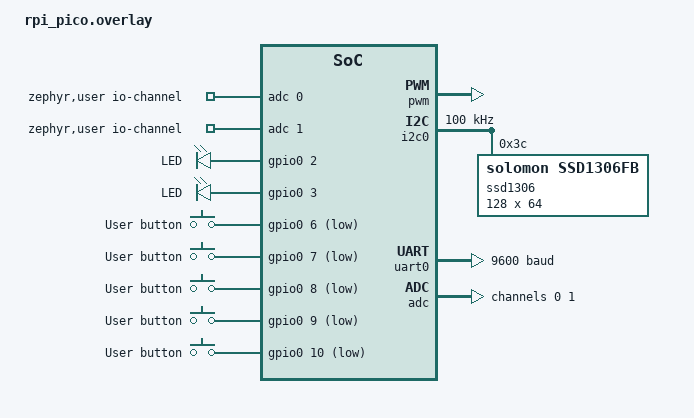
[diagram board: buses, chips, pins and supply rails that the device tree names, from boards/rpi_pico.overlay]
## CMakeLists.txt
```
cmake_minimum_required(VERSION 3.20.0)
set(BOARD rpi_pico)

find_package(Zephyr)
project(my_zephyr_app)

target_sources(app PRIVATE src/main.c)
```

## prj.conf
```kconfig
# GPIO
CONFIG_GPIO=y

# PWM
CONFIG_STDOUT_CONSOLE=y
CONFIG_PRINTK=y
CONFIG_PWM=y
CONFIG_LOG=y
CONFIG_LOG_PRINTK=y
CONFIG_LOG_MODE_IMMEDIATE=y
CONFIG_PWM_LOG_LEVEL_DBG=y

# ADC
CONFIG_ADC=y
CONFIG_ADC_ASYNC=y
CONFIG_NEWLIB_LIBC=y

# UART
CONFIG_SERIAL=y
CONFIG_UART_INTERRUPT_DRIVEN=y

# Memoria
#CONFIG_STORAGE=y

#I2C display
CONFIG_I2C=y
CONFIG_DISPLAY=y
CONFIG_SSD1306=y
CONFIG_SSD1306_DEFAULT=y
CONFIG_SSD1306_DEFAULT_CONTRAST=128
CONFIG_LOG=y
CONFIG_CHARACTER_FRAMEBUFFER=y
CONFIG_STDOUT_CONSOLE=y
CONFIG_HEAP_MEM_POOL_SIZE=16384
CONFIG_CFB_LOG_LEVEL_DBG=y
```

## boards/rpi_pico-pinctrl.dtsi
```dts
/*
 * Copyright (c) 2021, Yonatan Schachter
 * SPDX-License-Identifier: Apache-2.0
 */

#include <zephyr/dt-bindings/pinctrl/rpi-pico-rp2040-pinctrl.h>

&pinctrl {

// new pinctrl:

	pwm_chn_used: pwm_ch4b_default {
		group1 {
			pinmux = <PWM_7A_P14>, <PWM_7B_P15>, <PWM_3A_P22>;
		};
	};



// old pinctrl:

	uart0_default: uart0_default {
		rx_pins {
			pinmux = <PIO1_P1>;
			input-enable;
			bias-pull-up;
		};
		tx_pins {
			pinmux = <PIO1_P0>;
		};
	};

	i2c0_default: i2c0_default {
		group1 {
			pinmux = <I2C0_SDA_P4>, <I2C0_SCL_P5>;
			input-enable;
			input-schmitt-enable;
		};
	};

	spi0_default: spi0_default {
		group1 {
			pinmux = <SPI0_CSN_P17>, <SPI0_SCK_P18>, <SPI0_TX_P19>;
		};
		group2 {
			pinmux = <SPI0_RX_P16>;
			input-enable;
		};
	};

	pwm_ch4b_default: pwm_ch4b_default {
		group1 {
			pinmux = <PWM_4B_P25>;
		};
	};

	adc_default: adc_default {
		group1 {
			pinmux = <ADC_CH0_P26>, <ADC_CH1_P27>, <ADC_CH2_P28>, <ADC_CH3_P29>;
			input-enable;
		};
	};
};
```

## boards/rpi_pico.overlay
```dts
#include "rpi_pico-pinctrl.dtsi"
#include <zephyr/dt-bindings/adc/adc.h>


/ {
	zephyr,user {
		io-channels = <&adc 0>, <&adc 1>;
	};

	pwm_leds {
		compatible = "pwm-leds";
		status = "disabled";
		pwm_led1: pwm_led_1 {
			pwms = <&pwm 14 PWM_MSEC(20) PWM_POLARITY_NORMAL>;
			label = "PWM_LED";
		};
		pwm_led2: pwm_led_2 {
			pwms = <&pwm 15 PWM_MSEC(20) PWM_POLARITY_NORMAL>;
			label = "PWM_LED";
		};
		pwm_led3: pwm_led_3 {
			pwms = <&pwm 6 PWM_MSEC(20) PWM_POLARITY_NORMAL>;
			label = "PWM_LED";
		};
	};

	leds {
		compatible = "gpio-leds";
		led1: led_1 {
			gpios = <&gpio0 2 GPIO_ACTIVE_HIGH>;
			label = "LED";
		};
		led2: led_2 {
			gpios = <&gpio0 3 GPIO_ACTIVE_HIGH>;
			label = "LED";
		};
	};

	buttons {
             compatible = "gpio-keys";
             button0: button_0 {
                     gpios = < &gpio0 6 (GPIO_PULL_UP | GPIO_ACTIVE_LOW)>;
                     label = "User button";
             };
			  button1: button_1 {
                     gpios = < &gpio0 7 (GPIO_PULL_UP | GPIO_ACTIVE_LOW)>;
                     label = "User button";
             };
			  button2: button_2 {
                     gpios = < &gpio0 8 (GPIO_PULL_UP | GPIO_ACTIVE_LOW)>;
                     label = "User button";
             };
			  button3: button_3 {
                     gpios = < &gpio0 9 (GPIO_PULL_UP | GPIO_ACTIVE_LOW)>;
                     label = "User button";
             };
			  button4: button_4 {
                     gpios = < &gpio0 10 (GPIO_PULL_UP | GPIO_ACTIVE_LOW)>;
                     label = "User button";
             };
             
     };

	aliases {
		led1 = &led1;
		led2 = &led2;
		pwm-led1 = &pwm_led1;
		pwm-led2 = &pwm_led2;
		pwm-led3 = &pwm_led3;
		sw0 = &button0;
		sw1 = &button1;
		sw2 = &button2;
		sw3 = &button3;
		sw4 = &button4;
	};

};


&pwm_led1 {
	status = "okay";
};
&pwm_led2 {
	status = "okay";
};
&pwm_led3 {
	status = "okay";
};


&pwm {
	status = "okay";

	pinctrl-0 = <&pwm_ch4b_default>;

	// for pwm chanel 3 A and B

	divider-frac-3 = <15>;
	divider-int-3 = <255>;
	
	// for pwm chanel 4 A and B
	
	// divider-frac-4 = <15>;
	// divider-int-4 = <255>;

	// for pwm chanel 7 A and B
	
	divider-frac-7 = <15>;
	divider-int-7 = <255>;
};

&i2c0 {
	clock-frequency = <I2C_BITRATE_STANDARD>;
	status = "okay";
	pinctrl-0 = <&i2c0_default>;
	pinctrl-names = "default";

	ssd1306: ssd1306@3c {
      		compatible = "solomon,ssd1306fb";
	       reg = <0x3c>;
	       height = <64>;
	       width = <128>;
	       segment-offset = <0>;
	       page-offset = <0>;
	       display-offset = <0>;
	       multiplex-ratio = <63>;
	       prechargep = <0x22>;
	       com-invdir;
	       segment-remap;
      };
};


pio1_uart0: &uart0 {
	compatible = "raspberrypi,pico-uart-pio";
	current-speed = <9600>;
	status = "okay";
	pinctrl-0 = <&uart0_default>;
	pinctrl-names = "default";
};

&adc {
	#address-cells = <1>;
	#size-cells = <0>;

	channel@0 {
		reg = <0>;
		zephyr,gain = "ADC_GAIN_1";
		zephyr,reference = "ADC_REF_INTERNAL";
		zephyr,acquisition-time = <ADC_ACQ_TIME_DEFAULT>;
		zephyr,resolution = <12>;
	};
	
	channel@1 {
		reg = <1>;
		zephyr,gain = "ADC_GAIN_1";
		zephyr,reference = "ADC_REF_INTERNAL";
		zephyr,acquisition-time = <ADC_ACQ_TIME_DEFAULT>;
		zephyr,resolution = <12>;
	};

};
```

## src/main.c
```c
/*
 * Copyright (c) 2016 Intel Corporation
 *
 * SPDX-License-Identifier: Apache-2.0
 */



#include <inttypes.h>
#include <stddef.h>
#include <stdint.h>

#include <zephyr/device.h>
#include <zephyr/devicetree.h>
#include <zephyr/drivers/adc.h>
#include <zephyr/kernel.h>
#include <zephyr/sys/printk.h>
#include <zephyr/sys/util.h>

#include <zephyr/drivers/pwm.h>

#include <zephyr/drivers/gpio.h>

#include <zephyr/drivers/uart.h>
#include <string.h>

#include <zephyr/drivers/display.h>
#include <zephyr/display/cfb.h>
#include <zephyr/logging/log.h>



// ############# GPIO ###############

#define LED0_NODE DT_ALIAS(led0)
#define GFCI_test_NODE DT_ALIAS(led1)
#define GFCI_fault_NODE DT_ALIAS(led2)

// ############# PWM ###############

#define PERIOD PWM_NSEC(100000000U)

// ############# I2C DISPLAY ###############
#include "Chargers.h"
#include "Logo_b.h"
#define DISPLAY_BUFFER_PITCH 128
LOG_MODULE_REGISTER(display);


// ############# GPIO ###############

static const struct gpio_dt_spec led_placa = GPIO_DT_SPEC_GET(LED0_NODE, gpios);
static const struct gpio_dt_spec GFCI_test = GPIO_DT_SPEC_GET(GFCI_test_NODE, gpios);
static const struct gpio_dt_spec GFCI_fault = GPIO_DT_SPEC_GET(GFCI_fault_NODE, gpios);

// ############# BUTTONS ###############

#define SW3_NODE	DT_ALIAS(sw3)
#define SW0_NODE	DT_ALIAS(sw0)
#define SW1_NODE	DT_ALIAS(sw1)
#define SW2_NODE	DT_ALIAS(sw2)

#if !DT_NODE_HAS_STATUS(SW0_NODE, okay)
#error "Unsupported board: sw devicetree alias is not defined"
#endif
#if !DT_NODE_HAS_STATUS(SW1_NODE, okay)
#error "Unsupported board: sw devicetree alias is not defined"
#endif
#if !DT_NODE_HAS_STATUS(SW2_NODE, okay)
#error "Unsupported board: sw devicetree alias is not defined"
#endif
#if !DT_NODE_HAS_STATUS(SW3_NODE, okay)
#error "Unsupported board: sw devicetree alias is not defined"
#endif

static const struct gpio_dt_spec button0 = GPIO_DT_SPEC_GET_OR(SW0_NODE, gpios,
							      {0});
static const struct gpio_dt_spec button1 = GPIO_DT_SPEC_GET_OR(SW1_NODE, gpios,
							      {0});
static const struct gpio_dt_spec button2 = GPIO_DT_SPEC_GET_OR(SW2_NODE, gpios,
							      {0});
static const struct gpio_dt_spec button3 = GPIO_DT_SPEC_GET_OR(SW3_NODE, gpios,
							      {0});

static struct gpio_callback button0_cb_data;
static struct gpio_callback button1_cb_data;
static struct gpio_callback button2_cb_data;
static struct gpio_callback button3_cb_data;

void button0_pressed(const struct device *dev, struct gpio_callback *cb,
		    uint32_t pins)
{
	printk("Button0 pressed at %" PRIu32 "\n", k_cycle_get_32());
}
void button1_pressed(const struct device *dev, struct gpio_callback *cb,
		    uint32_t pins)
{
	printk("Button1 pressed at %" PRIu32 "\n", k_cycle_get_32());
}
void button2_pressed(const struct device *dev, struct gpio_callback *cb,
		    uint32_t pins)
{
	printk("Button2 pressed at %" PRIu32 "\n", k_cycle_get_32());
}
void button3_pressed(const struct device *dev, struct gpio_callback *cb,
		    uint32_t pins)
{
	printk("Button3 pressed at %" PRIu32 "\n", k_cycle_get_32());
}

// ############# PWM ###############

static const struct pwm_dt_spec pwm_rele1 = PWM_DT_SPEC_GET(DT_ALIAS(pwm_led1));
static const struct pwm_dt_spec pwm_rele2 = PWM_DT_SPEC_GET(DT_ALIAS(pwm_led2));
static const struct pwm_dt_spec pwm_pilot_out = PWM_DT_SPEC_GET(DT_ALIAS(pwm_led3));

// ############# I2C DISPLAY ###############
static const struct device *display = DEVICE_DT_GET(DT_NODELABEL(ssd1306));

void main(void)
{
	int ret;

	// ############# GPIO ###############

	// inicializar led placa
	if (!gpio_is_ready_dt(&led_placa)) {
		return;
	}

	ret = gpio_pin_configure_dt(&led_placa, GPIO_OUTPUT_ACTIVE);
	if (ret < 0) {
		return;
	}

	// inicializar GFCI_test
	if (!gpio_is_ready_dt(&GFCI_test)) {
		return;
	}

	ret = gpio_pin_configure_dt(&GFCI_test, GPIO_INPUT);
	if (ret < 0) {
		return;
	}

	// inicializar GFCI_fault
	if (!gpio_is_ready_dt(&GFCI_fault)) {
		return;
	}

	ret = gpio_pin_configure_dt(&GFCI_fault, GPIO_INPUT);
	if (ret < 0) {
		return;
	}

	printk("GPIOs configurados correctamente\n");



	// ############# PWM ###############
	uint32_t period;
	period = PERIOD;

	if (!device_is_ready(pwm_rele1.dev)) {
		printk("Error: PWM device %s is not ready\n",
		       pwm_rele1.dev->name);
		return;
	}

	if (!device_is_ready(pwm_rele2.dev)) {
		printk("Error: PWM device %s is not ready\n",
		       pwm_rele2.dev->name);
		return;
	}

	if (!device_is_ready(pwm_pilot_out.dev)) {
		printk("Error: PWM device %s is not ready\n",
		       pwm_pilot_out.dev->name);
		return;
	}

	printk("PWMs configurados correctamente\n");

	// // ############# I2C DISPLAY ###############
	if (display == NULL) {
    LOG_ERR("device pointer is NULL");
    return;
	}

	if (!device_is_ready(display)) {
		LOG_ERR("display device is not ready");
		return;
	}

	struct display_capabilities capabilities;
	display_get_capabilities(display, &capabilities);

	const uint16_t x_res = capabilities.x_resolution;
	const uint16_t y_res = capabilities.y_resolution;

	LOG_INF("x_resolution: %d", x_res);
	LOG_INF("y_resolution: %d", y_res);
	LOG_INF("supported pixel formats: %d", capabilities.supported_pixel_formats);
	LOG_INF("screen_info: %d", capabilities.screen_info);
	LOG_INF("current_pixel_format: %d", capabilities.current_pixel_format);
	LOG_INF("current_orientation: %d", capabilities.current_orientation);
		
	const struct display_buffer_descriptor buf_desc = {
		.width = x_res,
		.height = y_res,
		.buf_size = x_res * y_res,
		.pitch = DISPLAY_BUFFER_PITCH
	};

	// ############# BUTTON ###############

	// Button 0
	if (!gpio_is_ready_dt(&button0)) {
		printk("Error: button3 device %s is not ready\n",
		       button0.port->name);
		return;
	}
	if (ret != 0) {
		printk("Error %d: failed to configure %s pin %d\n",
		       ret, button0.port->name, button0.pin);
		return;
	}
	gpio_init_callback(&button0_cb_data, button0_pressed, BIT(button0.pin));
	gpio_add_callback(button0.port, &button0_cb_data);
	printk("Set up button0 at %s pin %d\n", button0.port->name, button0.pin);
	// Button 1
	if (!gpio_is_ready_dt(&button1)) {
		printk("Error: button1 device %s is not ready\n",
		       button1.port->name);
		return;
	}
	if (ret != 0) {
		printk("Error %d: failed to configure %s pin %d\n",
		       ret, button1.port->name, button1.pin);
		return;
	}
	gpio_init_callback(&button1_cb_data, button1_pressed, BIT(button1.pin));
	gpio_add_callback(button1.port, &button1_cb_data);
	printk("Set up button1 at %s pin %d\n", button1.port->name, button1.pin);
	// Button 2
	if (!gpio_is_ready_dt(&button2)) {
		printk("Error: button2 device %s is not ready\n",
		       button2.port->name);
		return;
	}
	if (ret != 0) {
		printk("Error %d: failed to configure %s pin %d\n",
		       ret, button2.port->name, button2.pin);
		return;
	}
	gpio_init_callback(&button2_cb_data, button2_pressed, BIT(button2.pin));
	gpio_add_callback(button2.port, &button2_cb_data);
	printk("Set up button2 at %s pin %d\n", button2.port->name, button2.pin);
	// Button 3
	if (!gpio_is_ready_dt(&button3)) {
		printk("Error: button3 device %s is not ready\n",
		       button3.port->name);
		return;
	}
	if (ret != 0) {
		printk("Error %d: failed to configure %s pin %d\n",
		       ret, button3.port->name, button3.pin);
		return;
	}
	gpio_init_callback(&button3_cb_data, button3_pressed, BIT(button3.pin));
	gpio_add_callback(button3.port, &button3_cb_data);
	printk("Set up button3 at %s pin %d\n", button3.port->name, button3.pin);
	

	// ############# INICIO DEL PROGRAMA ###############
	printk("Press the button\n"); 
	//RELÉS OFF
	int izquierda_bt;
	int derecha_bt;
	int aceptar_bt;
	int atras_bt;
	//ret = pwm_set_dt(&pwm_rele1, period, period / 2U);
	ret = pwm_set_dt(&pwm_rele1, period, 0);
		if (ret) {
			printk("Error %d: failed to set pulse width\n", ret);
			return;
		}

	//ret = pwm_set_dt(&pwm_rele2, period, period / 2U);
	ret = pwm_set_dt(&pwm_rele2, period, 0);
		if (ret) {
			printk("Error %d: failed to set pulse width\n", ret);
			return;
		}

	// ret = pwm_set_dt(&pwm_pilot_out, period, period / 2U);
	// 	if (ret) {
	// 		printk("Error %d: failed to set pulse width\n", ret);
	// 		return;
	// 	}
	
	int fase_programa = 0;
	const uint8_t *current_image = buff;

	while (1)
	{	
		
		display_write(display, 0, 0, &buf_desc, current_image);

		// Definimos las diferentes secciones que hay dentro del programa
		// Inicio, Selecciona corriente, ya esta cargando el carro?, carga, finalización
		
		izquierda_bt = gpio_pin_get_dt(&button0);
		derecha_bt = gpio_pin_get_dt(&button1);
		aceptar_bt = gpio_pin_get_dt(&button2);
		atras_bt = gpio_pin_get_dt(&button3);
		
		// Máquina de estados
		switch(fase_programa) {
			//case inicio:
			case 0:
				printk("inicio");
				current_image = buff;
				//:-) imprimir pantalla de inicio
				k_msleep(10000);
				fase_programa = 1;
			break;

			//case selecciona_corriente_6A:
			case 1:
				current_image = Char6;
				//:-) imprimir pantalla de selección corriente con 6A seleccionado

				if (aceptar_bt != 0) {
					// :-P asignar el valor a la variable corriente
					printk("Corriente 6A seleccionada\n");
					fase_programa = 3;

					k_msleep(10);
				}
				if (derecha_bt != 0){
					fase_programa = 2;

					k_msleep(10);
				}
			break;

			//case selecciona_corriente_16A:
			case 2:

				//:-) imprimir pantalla de selección corriente con 16A seleccionado
				current_image = Char16;
				if (aceptar_bt != 0) {
					printk("Corriente 16A seleccionada\n");
					// :-P asignar el valor a la variable corriente
					fase_programa = 3;

					k_msleep(10);
				}
				if (izquierda_bt != 0){
					fase_programa = 1;

					k_msleep(10);
				}
			break;

			// case comprobar si el carro esta conectado
			case 3:
				//:-) imprimir pantalla de mostrar que el carro esté conectado
				current_image = Char0;
				// :-P condicional para ver si el carro esta conectado y proceder a la carga
				if (aceptar_bt != 0) {
					printk("Carga aceptada\n");
					// :-P asignar el valor a la variable corriente
					fase_programa = 4;

					k_msleep(10);
				}
				if (atras_bt != 0){
					fase_programa = 1;

					k_msleep(10);
				}
			break;

			//case cargando
			case 4:
				//:-) imprimir pantalla de cargando
				current_image = Char50;

				// Encender relés

					ret = pwm_set_dt(&pwm_rele1, period, period);
						if (ret) {
							printk("Error %d: failed to set pulse width\n", ret);
							return;
						}

					ret = pwm_set_dt(&pwm_rele2, period, period);
						if (ret) {
							printk("Error %d: failed to set pulse width\n", ret);
							return;
						}

				// :-P condicional para ver si el carro ya está full carga
				if (atras_bt != 0){
					fase_programa = 5;
					k_msleep(10);
				}
			break;

			// case carga completada
			case 5:
				//:-) imprimir pantalla de carga completada
				current_image = Char100;

				//Apagar relés
				
					ret = pwm_set_dt(&pwm_rele1, period, 0);
						if (ret) {
							printk("Error %d: failed to set pulse width\n", ret);
							return;
						}

					ret = pwm_set_dt(&pwm_rele2, period, 0);
						if (ret) {
							printk("Error %d: failed to set pulse width\n", ret);
							return;
						}


			break;

			default:
				printk("error no esta en ninguna fase del programa");
				//:-) mostrar pantalla de error que diga que conecte y desconecte el cargador a la toma
		}

	}
	

// 	//REVISIÓN DE FALLAS: (SENSORES)
// 		//LECTURA DE CORRIENTE DE ENTRADA (SENSORES)
// 		//LECTURA DE VOLTAJE DE ENTRADA (SENSORES)
// 		//LECTURA DE TEMPERATURA (SENSORES)
// 		//LECTURA GFCI (SENSORES)
// 	//EN CASO DE FALLA: (PANTALLA)
// 		//MOSTRAR PANTALLA DE FALLA POR 5 SEGUNDOS
// 		//TERMINAR PROGRAMA 
// 	//MOSTRAR PANTALLA DE INICIO POR 2 SEGUNDOS (PANTALLA)
// 	//REVISAR SI SE APAGÓ CORRECTAMENTE (MICRO)
// 	//SI SE APAGÓ CORRECTAMENTE:
// 		//SE MUESTRA PANTALLA DE SELECCIÓN DE CORRIENTE 8A (PANTALLA)
// 		int aceptar = gpio_pin_get_dt(&button0);
// 		int izquierda = gpio_pin_get_dt(&button1);
// 		int derecha = gpio_pin_get_dt(&button2);
// 		int seleccionando_corriente = 1;
// 		int corriente_A = 16;
// 		int counter=0;
// 		while(seleccionando_corriente){
// 			if(izquierda){
// 				//SE MUESTRA PANTALLA DE SELECCIÓN DE CORRIENTE 8A (PANTALLA)
// 				corriente_A = 8;
// 			}
// 			if(derecha){
// 				//SE MUESTRA PANTALLA DE SELECCIÓN DE CORRIENTE 16A (PANTALLA)
// 				corriente_A = 16;
// 			}
// 			if(aceptar){
// 				seleccionando_corriente = 0;
// 			}
// 			if(counter > 200){
// 				seleccionando_corriente = 0;
// 			}
// 			counter = counter + 1;

// 			k_sleep(K_MSEC(700U));
// 		}
		
// 		//SE MUESTRA PANTALLA DE SOLICITUD DE CONEXIÓN DEL CARRO (PANTALLA)
// 		//vERIFICACIÓN DE CONEXIÓN CON EL CARRO %%%%%(CONECTOR)%%%%%%%%%
// 		//SI NO ESTÁ CONECTADO, SE REINICIA EL PROGRAMA CON EL REGISTRO DE APAGADO CORRECTAMENTE EN 1
// 	//%%%%%%%% INICIA CARGA %%%%%%%%%
// //RELÉS ENCENDIDOS (PROTOCOLO CONECTOR)
// 	ret = pwm_set_dt(&pwm_rele1, period, period);
// 		if (ret) {
// 			printk("Error %d: failed to set pulse width\n", ret);
// 			return;
// 		}

// 	ret = pwm_set_dt(&pwm_rele2, period, period);
// 		if (ret) {
// 			printk("Error %d: failed to set pulse width\n", ret);
// 			return;
// 		}

//  bool Carga_Completa = false;
// // INICIO DE WHILE

// 	while (1) {
	
// 	//LECTURA DE CORRIENTE DE ENTRADA (SENSORES)
// 	//LECTURA DE VOLTAJE DE ENTRADA (SENSORES)
// 	//LECTURA DE TEMPERATURA (SENSORES)
// 	//LECTURA DE CONEXIÓN CON EL CARRO (CONECTOR)
// 	//LECTURA GFCI (SENSORES)
// 	//ESTADO DE CARGA (CONECTOR)
// 		//SI NO ESTÁ LLENA:
// 			//MOSTRAR PANTALLA CARGANDO (PANTALLA)
// 		//SI ESTÁ LLENA:

// 			if (Carga_Completa == true)
// 			{
// 			//MOSTRAR PANTALLA CARGADO (PANTALLA)
// 			//APAGA RELÉS (MICRO)
// 				ret = pwm_set_dt(&pwm_rele1, period, 0);
// 				if (ret) {
// 				printk("Error %d: failed to set pulse width\n", ret);
// 				return;
// 				}

// 			ret = pwm_set_dt(&pwm_rele2, period, 0);
// 			if (ret) {
// 			printk("Error %d: failed to set pulse width\n", ret);
// 			return;
// 			}
// 			//FINALIZA PROGRAMA
// 			return 0;
// 			}
			

// 	//SI SE CANCELA CARGA: 
		

// 	//FALLO (CORRIENTE, TENSIÓN, TEMPERATURA, GFCI,) (SENSORES)
// 		//ABRE RELÉS
// 		//MUESTRA PANTALLA DE ERROR POR 5 SEGUNDOS (PANTALLA)
// 		//FINALIZA PROGRAMA

// 		ret = gpio_pin_toggle_dt(&led_placa);
// 		if (ret < 0) {
// 			return;
// 		}
// 		k_msleep(SLEEP_TIME_MS);

// 		if (k_msgq_get(&uart_msgq, &tx_buf, K_FOREVER) == 0) {
// 			print_uart("Echo: ");
// 			print_uart(tx_buf);
// 			print_uart("\r\n");
// 		}
		
// 	}
}
```

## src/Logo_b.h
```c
uint8_t buff[1024] = {
    0x00, 0x00, 0x00, 0xf0, 0xf0, 0xf0, 0xf0, 0xf0, 0xf0, 0x00, 0x00, 0x00, 0x00, 0x00, 0x00, 0x00, 
    0x00, 0x00, 0x00, 0x00, 0x00, 0x00, 0x00, 0x00, 0x00, 0x00, 0x00, 0x00, 0x00, 0x00, 0x00, 0x00, 
	0x00, 0xf0, 0xf0, 0xf0, 0xf0, 0xf0, 0xf0, 0xf0, 0xf0, 0x00, 0xf0, 0xf0, 0xf0, 0xf0, 0xf0, 0xf0, 
	0xf0, 0xf0, 0xf0, 0xf0, 0xf0, 0xf0, 0xf0, 0xf0, 0xf0, 0xf0, 0xf0, 0xf0, 0xf0, 0xf0, 0xf0, 0xf0, 
	0xf0, 0xf0, 0xf0, 0xe0, 0xe0, 0xc0, 0xc0, 0x80, 0x80, 0x00, 0x00, 0x00, 0x00, 0x00, 0x00, 0x00, 
	0x00, 0x00, 0x00, 0x00, 0x00, 0x00, 0x00, 0x00, 0x00, 0x00, 0x00, 0x00, 0x00, 0x00, 0x00, 0x00, 
	0x00, 0x00, 0x00, 0x00, 0x00, 0x00, 0x00, 0x00, 0x00, 0x00, 0x00, 0x00, 0x00, 0x00, 0x00, 0x00, 
	0x00, 0x00, 0x00, 0x00, 0x00, 0x00, 0x00, 0x00, 0x00, 0x00, 0x00, 0x00, 0x00, 0x00, 0x00, 0x00, 
	0x00, 0x00, 0x00, 0xff, 0xff, 0xff, 0xff, 0xff, 0xff, 0x00, 0x00, 0x00, 0x00, 0x00, 0x00, 0x00, 
	0x00, 0x00, 0x00, 0x00, 0x00, 0x00, 0x00, 0x00, 0x00, 0x00, 0x00, 0x00, 0x00, 0x00, 0x00, 0x00, 
	0x00, 0xff, 0xff, 0xff, 0xff, 0xff, 0xff, 0xff, 0xff, 0x00, 0xff, 0xff, 0xff, 0xff, 0xff, 0xff, 
	0xff, 0xff, 0x7f, 0x3f, 0x1f, 0x0f, 0x0f, 0x07, 0x07, 0x03, 0x03, 0x03, 0x03, 0x03, 0x03, 0x03, 
	0x03, 0x07, 0x07, 0x07, 0x0f, 0x0f, 0x1f, 0x3f, 0xff, 0xff, 0xfe, 0xfc, 0xf8, 0xe0, 0x80, 0x00, 
	0x00, 0x00, 0x00, 0x00, 0x00, 0x00, 0x00, 0x00, 0x00, 0x00, 0x00, 0x00, 0x00, 0x00, 0x00, 0x00, 
	0x00, 0x00, 0x00, 0x00, 0x00, 0x00, 0x00, 0x00, 0x00, 0x00, 0x00, 0x00, 0x00, 0x00, 0x00, 0x00, 
	0x00, 0x00, 0x00, 0x00, 0x00, 0x00, 0x00, 0x00, 0x00, 0x00, 0x00, 0x00, 0x00, 0x00, 0x00, 0x00, 
	0x00, 0x00, 0x00, 0xff, 0xff, 0xff, 0xff, 0xff, 0xff, 0x80, 0x00, 0x00, 0x00, 0x00, 0x00, 0x00, 
	0x00, 0x00, 0x00, 0x00, 0x00, 0x00, 0x00, 0x00, 0x00, 0x00, 0x00, 0x00, 0x00, 0x00, 0x00, 0x00, 
	0x00, 0xff, 0xff, 0xff, 0xff, 0xff, 0xff, 0xff, 0xff, 0x00, 0xff, 0xff, 0xff, 0xff, 0xff, 0xff, 
	0xff, 0x03, 0x00, 0x00, 0x00, 0x00, 0x00, 0x00, 0x00, 0x00, 0x00, 0x00, 0x00, 0x00, 0x00, 0x00, 
	0x00, 0x00, 0x00, 0x00, 0x00, 0x00, 0x00, 0x00, 0x00, 0xff, 0xff, 0xff, 0xff, 0xff, 0xff, 0x00, 
	0x00, 0x00, 0x00, 0x00, 0x00, 0x00, 0x00, 0x00, 0x00, 0x00, 0x00, 0x00, 0x00, 0x00, 0x00, 0x00, 
	0x00, 0x00, 0x00, 0x00, 0x00, 0x00, 0x00, 0x00, 0x00, 0x00, 0x00, 0x00, 0x00, 0x00, 0x00, 0x00, 
	0x00, 0x00, 0x00, 0x00, 0x00, 0x00, 0x00, 0x00, 0x00, 0x00, 0x00, 0x00, 0x00, 0x00, 0x00, 0x00, 
	0x00, 0x00, 0x00, 0x03, 0x0f, 0x3f, 0x7f, 0xff, 0xff, 0xff, 0xfc, 0xf0, 0xe0, 0xc0, 0xc0, 0x80, 
	0x80, 0x80, 0x00, 0x00, 0x00, 0x00, 0x00, 0x00, 0x00, 0x80, 0x80, 0x80, 0xc0, 0xe0, 0xe0, 0xf0, 
	0xfc, 0xff, 0xff, 0xff, 0xff, 0xff, 0xff, 0xff, 0xff, 0x00, 0xff, 0xff, 0xff, 0xff, 0xff, 0xff, 
	0xff, 0x00, 0x00, 0x00, 0x00, 0x00, 0x00, 0x00, 0x00, 0x00, 0x00, 0x00, 0x00, 0x00, 0x00, 0x00, 
	0x00, 0x00, 0x00, 0x00, 0x00, 0x00, 0x00, 0x00, 0x00, 0xff, 0xff, 0xff, 0xff, 0xff, 0xff, 0x00, 
	0x00, 0x00, 0x00, 0x00, 0x00, 0x00, 0x00, 0x00, 0x00, 0x00, 0x00, 0x00, 0x00, 0x00, 0x00, 0x00, 
	0x00, 0x00, 0x00, 0x00, 0x00, 0x00, 0x00, 0x00, 0x00, 0x00, 0x00, 0x00, 0x00, 0x00, 0x00, 0x00, 
	0x00, 0x00, 0x00, 0x00, 0x00, 0x00, 0x00, 0x00, 0x00, 0x00, 0x00, 0x00, 0x00, 0x00, 0x00, 0x00, 
	0x00, 0x00, 0x00, 0x00, 0x00, 0x00, 0x00, 0x00, 0x01, 0x03, 0x07, 0x0f, 0x0f, 0x1f, 0x1f, 0x1f, 
	0x1f, 0x1f, 0x1f, 0x1f, 0x1f, 0x1f, 0x1f, 0x1f, 0x1f, 0x1f, 0x1f, 0x1f, 0x1f, 0x1f, 0x1f, 0x1f, 
	0x1f, 0x1f, 0x1f, 0x1f, 0x1f, 0x1f, 0x1f, 0x1f, 0x1f, 0x00, 0x1f, 0x1f, 0x1f, 0x1f, 0x1f, 0x1f, 
	0x1f, 0x00, 0x00, 0x00, 0x00, 0x00, 0x00, 0x00, 0x00, 0x00, 0x00, 0x00, 0x00, 0x00, 0x00, 0x00, 
	0x00, 0x00, 0x00, 0x00, 0x00, 0x00, 0x00, 0x00, 0x00, 0x1f, 0x1f, 0x1f, 0x1f, 0x1f, 0x1f, 0x00, 
	0x00, 0x00, 0x00, 0x00, 0x00, 0x00, 0x00, 0x00, 0x00, 0x00, 0x00, 0x00, 0x00, 0x00, 0x00, 0x00, 
	0x00, 0x00, 0x00, 0x00, 0x00, 0x00, 0x00, 0x00, 0x00, 0x00, 0x00, 0x00, 0x00, 0x00, 0x00, 0x00, 
	0x00, 0x00, 0x00, 0x00, 0x00, 0x00, 0x00, 0x00, 0x00, 0x00, 0x00, 0x00, 0x00, 0x00, 0x00, 0x00, 
	0x00, 0x00, 0x00, 0x80, 0xe0, 0xf0, 0x38, 0x18, 0x0c, 0x0c, 0x0c, 0x0c, 0x0c, 0x0c, 0x0c, 0x00, 
	0x00, 0x00, 0x00, 0x00, 0x00, 0xc0, 0xf8, 0x1c, 0x3c, 0xf8, 0xc0, 0x00, 0x00, 0x00, 0x00, 0x00, 
	0x00, 0xfc, 0xfc, 0x0c, 0x0c, 0x0c, 0x0c, 0x0c, 0x18, 0xf8, 0xf0, 0x00, 0x00, 0x00, 0x80, 0xe0, 
	0xf0, 0x38, 0x18, 0x0c, 0x0c, 0x0c, 0x0c, 0x0c, 0x0c, 0x0c, 0x00, 0x00, 0x00, 0x00, 0x00, 0x00, 
	0x00, 0x00, 0xc0, 0xf8, 0x1c, 0x3c, 0xf8, 0xc0, 0x00, 0x00, 0x00, 0x00, 0x00, 0x00, 0xfc, 0xfc, 
	0x0c, 0x0c, 0x0c, 0x0c, 0x0c, 0x0c, 0x0c, 0x18, 0x38, 0xf0, 0xe0, 0x80, 0x00, 0x00, 0x00, 0xe0, 
	0xf0, 0x38, 0x18, 0x0c, 0x0c, 0x0c, 0x0c, 0x0c, 0x18, 0x38, 0x70, 0xe0, 0x80, 0x00, 0x00, 0x00, 
	0xfc, 0xfc, 0x0c, 0x0c, 0x0c, 0x0c, 0x0c, 0x18, 0xf8, 0xf0, 0x00, 0x00, 0x00, 0x00, 0x00, 0x00, 
	0x00, 0x00, 0x00, 0x3f, 0xff, 0xc0, 0x80, 0x00, 0x00, 0x00, 0x00, 0x00, 0x00, 0x00, 0x00, 0x00, 
	0x00, 0x00, 0x80, 0xf0, 0x7e, 0x3f, 0x31, 0x30, 0x30, 0x31, 0x3f, 0x7e, 0xf0, 0x80, 0x00, 0x00, 
	0x00, 0xff, 0xff, 0x0c, 0x0c, 0x0c, 0x0c, 0x1c, 0x7e, 0xf3, 0xc1, 0x00, 0x00, 0x00, 0x3f, 0xff, 
	0xc0, 0x80, 0x00, 0x00, 0x00, 0x00, 0x0c, 0x0c, 0x0c, 0xfc, 0xfc, 0x00, 0x00, 0x00, 0x00, 0x80, 
	0xf0, 0x7e, 0x3f, 0x31, 0x30, 0x30, 0x31, 0x3f, 0x7e, 0xf0, 0x80, 0x00, 0x00, 0x00, 0xff, 0xff, 
	0x00, 0x00, 0x00, 0x00, 0x00, 0x00, 0x00, 0x00, 0x80, 0xf0, 0x7f, 0x1f, 0x00, 0x00, 0x3f, 0xff, 
	0xe0, 0x80, 0x00, 0x00, 0x00, 0x00, 0x00, 0x00, 0x00, 0x80, 0xc0, 0xff, 0x3f, 0x00, 0x00, 0x00, 
	0xff, 0xff, 0x0c, 0x0c, 0x0c, 0x0c, 0x1c, 0x7e, 0xf3, 0xc1, 0x00, 0x00, 0x00, 0x00, 0x00, 0x00, 
	0x00, 0x00, 0x00, 0x00, 0x00, 0x01, 0x03, 0x03, 0x06, 0x06, 0x06, 0x06, 0x06, 0x06, 0x06, 0x00, 
	0x00, 0x04, 0x07, 0x03, 0x00, 0x00, 0x00, 0x00, 0x00, 0x00, 0x00, 0x00, 0x03, 0x07, 0x04, 0x00, 
	0x00, 0x07, 0x07, 0x00, 0x00, 0x00, 0x00, 0x00, 0x00, 0x07, 0x07, 0x04, 0x00, 0x00, 0x00, 0x00, 
	0x01, 0x03, 0x03, 0x06, 0x06, 0x06, 0x06, 0x06, 0x06, 0x07, 0x03, 0x00, 0x00, 0x00, 0x04, 0x07, 
	0x03, 0x00, 0x00, 0x00, 0x00, 0x00, 0x00, 0x00, 0x00, 0x03, 0x07, 0x04, 0x00, 0x00, 0x07, 0x07, 
	0x06, 0x06, 0x06, 0x06, 0x06, 0x06, 0x03, 0x03, 0x01, 0x01, 0x00, 0x00, 0x00, 0x00, 0x00, 0x00, 
	0x01, 0x03, 0x03, 0x06, 0x06, 0x06, 0x06, 0x06, 0x03, 0x03, 0x01, 0x00, 0x00, 0x00, 0x00, 0x00, 
	0x07, 0x07, 0x00, 0x00, 0x00, 0x00, 0x00, 0x00, 0x07, 0x07, 0x04, 0x00, 0x00, 0x00, 0x00, 0x00
};
```

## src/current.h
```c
// 'Selector1', 128x64px								
uint8_t Current1[1024] = {								
	0xff, 0xff, 0xff, 0xff, 0xff, 0xff, 0xff, 0xff, 0xff, 0xff, 0xff, 0xff, 0xff, 0xff, 0xff, 0xff, 							
	0xff, 0xff, 0xff, 0xff, 0xff, 0xff, 0xff, 0xff, 0xff, 0xff, 0xff, 0xff, 0xff, 0xff, 0xff, 0xff, 							
	0xff, 0xff, 0xff, 0xff, 0xff, 0xff, 0xff, 0xff, 0xff, 0xff, 0xff, 0xff, 0xff, 0xff, 0xff, 0xff, 							
	0xff, 0xff, 0xff, 0xff, 0xff, 0xff, 0xff, 0xff, 0xff, 0xff, 0xff, 0xff, 0xff, 0xff, 0xff, 0xff, 							
	0xff, 0xff, 0xff, 0xff, 0xff, 0xff, 0xff, 0xff, 0xff, 0xff, 0xff, 0xff, 0xff, 0xff, 0xff, 0xff, 							
	0xff, 0xff, 0xff, 0xff, 0xff, 0xff, 0xff, 0xff, 0xff, 0xff, 0xff, 0xff, 0xff, 0xff, 0xff, 0xff, 							
	0xff, 0xff, 0xff, 0xff, 0xff, 0xff, 0xff, 0xff, 0xff, 0xff, 0xff, 0xff, 0xff, 0xff, 0xff, 0xff, 							
	0xff, 0xff, 0xff, 0xff, 0xff, 0xff, 0xff, 0xff, 0xff, 0xff, 0xff, 0xff, 0xff, 0xff, 0xff, 0xff, 							
	0xff, 0xff, 0xff, 0xff, 0xff, 0xff, 0xff, 0xff, 0xff, 0xff, 0xff, 0xff, 0xff, 0xff, 0x1f, 0x07, 							
	0xc3, 0xf1, 0xf9, 0xfc, 0xfc, 0xfc, 0xfc, 0xfc, 0xfc, 0xfc, 0xff, 0xff, 0xff, 0x7f, 0x3f, 0x9f, 							
	0x9f, 0x9f, 0x9f, 0x9f, 0x3f, 0x7f, 0xff, 0xff, 0xff, 0xff, 0x1f, 0x1f, 0x3f, 0xbf, 0x9f, 0x9f, 							
	0xff, 0xff, 0x1f, 0x1f, 0x7f, 0x3f, 0x9f, 0x9f, 0xff, 0xff, 0xfd, 0x18, 0x1c, 0xff, 0xff, 0xff, 							
	0xff, 0x7f, 0x3f, 0x9f, 0x9f, 0xdf, 0x9f, 0x3f, 0x3f, 0xff, 0xff, 0xff, 0xff, 0x1f, 0x1f, 0x3f, 							
	0xbf, 0x9f, 0x9f, 0x9f, 0x1f, 0x3f, 0x7f, 0xff, 0xff, 0x9f, 0x9f, 0x03, 0x03, 0x9f, 0x9f, 0x9f, 							
	0xff, 0xff, 0xff, 0x7f, 0x3f, 0xbf, 0x9f, 0xdf, 0x9f, 0x9f, 0x3f, 0x7f, 0xff, 0xff, 0xff, 0xff, 							
	0xff, 0xff, 0xff, 0xff, 0xff, 0xff, 0xff, 0xff, 0xff, 0xff, 0xff, 0xff, 0xff, 0xff, 0xff, 0xff, 							
	0xff, 0xff, 0xff, 0xff, 0xff, 0xff, 0xff, 0xff, 0xff, 0xff, 0xff, 0xff, 0xff, 0xff, 0xf0, 0xc0, 							
	0x8f, 0x1f, 0x3f, 0x7f, 0x7f, 0x7f, 0x7f, 0x7f, 0x7f, 0x7f, 0xff, 0xff, 0xc0, 0x80, 0x1e, 0x7f, 							
	0x7f, 0x7f, 0x7f, 0x7f, 0x1e, 0x80, 0xc0, 0xff, 0xff, 0xff, 0x00, 0x00, 0xfe, 0xff, 0xff, 0xff, 							
	0xff, 0xff, 0x00, 0x00, 0xfe, 0xff, 0xff, 0xff, 0xff, 0xff, 0xff, 0x00, 0x00, 0xff, 0xff, 0xff, 							
	0xc1, 0x80, 0x3b, 0x7b, 0x7b, 0x7b, 0x7b, 0x7b, 0x78, 0xf8, 0xff, 0xff, 0xff, 0x00, 0x00, 0xff, 							
	0xff, 0xff, 0xff, 0xff, 0xff, 0x00, 0x00, 0xff, 0xff, 0xff, 0xff, 0x80, 0x00, 0x7f, 0x7f, 0x7f, 							
	0xff, 0xff, 0xc1, 0x80, 0x3b, 0x7b, 0x7b, 0x7b, 0x7b, 0x7b, 0x7b, 0x78, 0xf8, 0xff, 0xff, 0xff, 							
	0xff, 0xff, 0xff, 0xff, 0xff, 0xff, 0xff, 0xff, 0xff, 0xff, 0xff, 0xff, 0xff, 0xff, 0xff, 0xff, 							
	0xff, 0xff, 0xff, 0xff, 0xff, 0xff, 0xff, 0xff, 0xff, 0xff, 0xff, 0xff, 0xff, 0xff, 0xff, 0xff, 							
	0xff, 0xff, 0xff, 0xfe, 0xfe, 0xfe, 0xfe, 0xfe, 0xfe, 0xfe, 0xff, 0xff, 0xff, 0xff, 0xff, 0xfe, 							
	0xfe, 0xfe, 0xfe, 0xfe, 0xff, 0xff, 0xff, 0xff, 0xff, 0xff, 0xfe, 0xfe, 0xff, 0xff, 0xff, 0xff, 							
	0xff, 0xff, 0xfe, 0xfe, 0xff, 0xff, 0xff, 0xff, 0xff, 0xff, 0xff, 0xfe, 0xfe, 0xff, 0xff, 0xff, 							
	0xff, 0xff, 0xff, 0xfe, 0xfe, 0xfe, 0xfe, 0xfe, 0xfe, 0xff, 0xff, 0xff, 0xff, 0xfe, 0xfe, 0xff, 							
	0xff, 0xff, 0xff, 0xff, 0xff, 0xfe, 0xfe, 0xff, 0xff, 0xff, 0xff, 0xff, 0xfe, 0xfe, 0xfe, 0xfe, 							
	0xff, 0xff, 0xff, 0xff, 0xff, 0xfe, 0xfe, 0xfe, 0xfe, 0xfe, 0xfe, 0xfe, 0xff, 0xff, 0xff, 0xff, 							
	0xff, 0xff, 0xff, 0xff, 0xff, 0xff, 0xff, 0xff, 0xff, 0xff, 0xff, 0xff, 0xff, 0xff, 0xff, 0xff, 							
	0xff, 0xff, 0xff, 0xff, 0xff, 0xff, 0xff, 0xff, 0xff, 0xff, 0xff, 0xff, 0xff, 0xff, 0xff, 0xff, 							
	0xff, 0xff, 0xff, 0xff, 0xff, 0xff, 0xff, 0xff, 0xff, 0xff, 0xff, 0xff, 0xff, 0xff, 0xff, 0xff, 							
	0xff, 0xff, 0xff, 0xff, 0xff, 0xff, 0xff, 0xff, 0xff, 0xff, 0xff, 0xff, 0xff, 0xff, 0xff, 0xff, 							
	0xff, 0xff, 0x87, 0x03, 0x7b, 0xf9, 0xfd, 0xf9, 0x79, 0x03, 0x87, 0xff, 0xff, 0xff, 0xff, 0xff, 							
	0xff, 0xff, 0x1f, 0x03, 0xf1, 0xe1, 0x03, 0x1f, 0xff, 0xff, 0xff, 0xff, 0xff, 0xff, 0xff, 0xff, 							
	0xff, 0xff, 0xff, 0xff, 0xff, 0xff, 0xff, 0xff, 0xff, 0xff, 0xff, 0xff, 0xfd, 0xf8, 0xf0, 0xe1, 							
	0xc3, 0x87, 0x0f, 0x1f, 0x3f, 0x7f, 0xff, 0xff, 0xff, 0xff, 0xff, 0xff, 0xff, 0xff, 0xff, 0xff, 							
	0xff, 0xff, 0xff, 0xff, 0xff, 0xff, 0xff, 0xff, 0xff, 0xff, 0xff, 0xff, 0xff, 0xff, 0xff, 0xff, 							
	0xff, 0xff, 0xff, 0xff, 0xff, 0xff, 0xff, 0xff, 0xff, 0xff, 0xff, 0xff, 0xff, 0xff, 0xff, 0xff, 							
	0xff, 0xff, 0xff, 0xff, 0xff, 0xff, 0xff, 0xff, 0xff, 0xff, 0xff, 0xff, 0xff, 0xff, 0xff, 0xff, 							
	0xff, 0xff, 0xff, 0xff, 0xff, 0xff, 0xff, 0xff, 0xff, 0xff, 0xff, 0xff, 0xff, 0xff, 0xff, 0xff, 							
	0xff, 0x8f, 0x03, 0x73, 0xf8, 0xfc, 0xfc, 0xfc, 0xf8, 0x71, 0x03, 0x87, 0xff, 0xff, 0xff, 0x3f, 							
	0x07, 0xc0, 0xe0, 0xe7, 0xe7, 0xe7, 0xe7, 0xe0, 0xc0, 0x07, 0x3f, 0xff, 0xff, 0xff, 0xff, 0xff, 							
	0xff, 0xff, 0xff, 0xff, 0xff, 0xff, 0xff, 0xff, 0xff, 0xff, 0xff, 0xff, 0x7f, 0x3f, 0x1f, 0x0f, 							
	0x87, 0xc3, 0xe0, 0xf0, 0xf8, 0xfc, 0xfe, 0xff, 0xff, 0xff, 0xff, 0xff, 0xff, 0xff, 0xff, 0xff, 							
	0xff, 0xff, 0xff, 0xff, 0xff, 0xff, 0xff, 0xff, 0xff, 0xff, 0xff, 0xff, 0xff, 0xff, 0xff, 0xff, 							
	0xff, 0xff, 0xff, 0xff, 0xff, 0xff, 0xff, 0xff, 0xff, 0xff, 0xff, 0xff, 0xff, 0xff, 0xff, 0xff, 							
	0xff, 0xff, 0xff, 0xff, 0xff, 0xff, 0xff, 0xff, 0xff, 0xff, 0xff, 0xff, 0xff, 0xff, 0xff, 0xff, 							
	0xff, 0xff, 0xff, 0xff, 0xff, 0xff, 0xff, 0xff, 0xff, 0xff, 0xff, 0xff, 0xff, 0xff, 0xff, 0xff, 							
	0xff, 0xff, 0xfe, 0xfe, 0xfc, 0xfc, 0xfc, 0xfc, 0xfc, 0xfe, 0xfe, 0xff, 0xff, 0xff, 0xfd, 0xfc, 							
	0xfe, 0xff, 0xff, 0xff, 0xff, 0xff, 0xff, 0xff, 0xff, 0xfe, 0xfc, 0xfd, 0xff, 0xff, 0xff, 0xff, 							
	0xff, 0xff, 0xff, 0xff, 0xff, 0xff, 0xff, 0xff, 0xff, 0xff, 0xff, 0xff, 0xff, 0xfe, 0xfe, 0xff, 							
	0xff, 0xff, 0xff, 0xff, 0xff, 0xff, 0xff, 0xff, 0xff, 0xff, 0xff, 0xff, 0xff, 0xff, 0xff, 0xff, 							
	0xff, 0xff, 0xff, 0xff, 0xff, 0xff, 0xff, 0xff, 0xff, 0xff, 0xff, 0xff, 0xff, 0xff, 0xff, 0xff, 							
	0xff, 0xff, 0xff, 0xff, 0xff, 0xff, 0xff, 0xff, 0xff, 0xff, 0xff, 0xff, 0xff, 0xff, 0xff, 0xff, 							
	0xff, 0xff, 0xff, 0xff, 0xff, 0xff, 0xff, 0xff, 0xff, 0xff, 0xff, 0xff, 0xff, 0xff, 0xff, 0xff, 							
	0xff, 0xff, 0xff, 0xff, 0xff, 0xff, 0xff, 0xff, 0xff, 0xff, 0xff, 0xff, 0xff, 0xff, 0xff, 0xff, 							
	0xff, 0xff, 0xff, 0xff, 0xff, 0xff, 0xff, 0xff, 0xff, 0xff, 0xff, 0xff, 0xff, 0xff, 0xff, 0xff, 							
	0xff, 0xff, 0xff, 0xff, 0xff, 0xff, 0xff, 0xff, 0xff, 0xff, 0xff, 0xff, 0xff, 0xff, 0xff, 0xff, 							
	0xff, 0xff, 0xff, 0xff, 0xff, 0xff, 0xff, 0xff, 0xff, 0xff, 0xff, 0xff, 0xff, 0xff, 0xff, 0xff, 							
	0xff, 0xff, 0xff, 0xff, 0xff, 0xff, 0xff, 0xff, 0xff, 0xff, 0xff, 0xff, 0xff, 0xff, 0xff, 0xff, 							
	0xff, 0xff, 0xff, 0xff, 0xff, 0xff, 0xff, 0xff, 0xff, 0xff, 0xff, 0xff, 0xff, 0xff, 0xff, 0xff							
};	

// 'Selector2', 128x64px			
uint8_t Current2[1024] = {			
	0xff, 0xff, 0xff, 0xff, 0xff, 0xff, 0xff, 0xff, 0xff, 0xff, 0xff, 0xff, 0xff, 0xff, 0xff, 0xff, 		
	0xff, 0xff, 0xff, 0xff, 0xff, 0xff, 0xff, 0xff, 0xff, 0xff, 0xff, 0xff, 0xff, 0xff, 0xff, 0xff, 		
	0xff, 0xff, 0xff, 0xff, 0xff, 0xff, 0xff, 0xff, 0xff, 0xff, 0xff, 0xff, 0xff, 0xff, 0xff, 0xff, 		
	0xff, 0xff, 0xff, 0xff, 0xff, 0xff, 0xff, 0xff, 0xff, 0xff, 0xff, 0xff, 0xff, 0xff, 0xff, 0xff, 		
	0xff, 0xff, 0xff, 0xff, 0xff, 0xff, 0xff, 0xff, 0xff, 0xff, 0xff, 0xff, 0xff, 0xff, 0xff, 0xff, 		
	0xff, 0xff, 0xff, 0xff, 0xff, 0xff, 0xff, 0xff, 0xff, 0xff, 0xff, 0xff, 0xff, 0xff, 0xff, 0xff, 		
	0xff, 0xff, 0xff, 0xff, 0xff, 0xff, 0xff, 0xff, 0xff, 0xff, 0xff, 0xff, 0xff, 0xff, 0xff, 0xff, 		
	0xff, 0xff, 0xff, 0xff, 0xff, 0xff, 0xff, 0xff, 0xff, 0xff, 0xff, 0xff, 0xff, 0xff, 0xff, 0xff, 		
	0xff, 0xff, 0xff, 0xff, 0xff, 0xff, 0xff, 0xff, 0xff, 0xff, 0xff, 0xff, 0xff, 0xff, 0x1f, 0x07, 		
	0xc3, 0xf1, 0xf9, 0xfc, 0xfc, 0xfc, 0xfc, 0xfc, 0xfc, 0xfc, 0xff, 0xff, 0xff, 0x7f, 0x3f, 0x9f, 		
	0x9f, 0x9f, 0x9f, 0x9f, 0x3f, 0x7f, 0xff, 0xff, 0xff, 0xff, 0x1f, 0x1f, 0x3f, 0xbf, 0x9f, 0x9f, 		
	0xff, 0xff, 0x1f, 0x1f, 0x7f, 0x3f, 0x9f, 0x9f, 0xff, 0xff, 0xfd, 0x18, 0x1c, 0xff, 0xff, 0xff, 		
	0xff, 0x7f, 0x3f, 0x9f, 0x9f, 0xdf, 0x9f, 0x3f, 0x3f, 0xff, 0xff, 0xff, 0xff, 0x1f, 0x1f, 0x3f, 		
	0xbf, 0x9f, 0x9f, 0x9f, 0x1f, 0x3f, 0x7f, 0xff, 0xff, 0x9f, 0x9f, 0x03, 0x03, 0x9f, 0x9f, 0x9f, 		
	0xff, 0xff, 0xff, 0x7f, 0x3f, 0xbf, 0x9f, 0xdf, 0x9f, 0x9f, 0x3f, 0x7f, 0xff, 0xff, 0xff, 0xff, 		
	0xff, 0xff, 0xff, 0xff, 0xff, 0xff, 0xff, 0xff, 0xff, 0xff, 0xff, 0xff, 0xff, 0xff, 0xff, 0xff, 		
	0xff, 0xff, 0xff, 0xff, 0xff, 0xff, 0xff, 0xff, 0xff, 0xff, 0xff, 0xff, 0xff, 0xff, 0xf0, 0xc0, 		
	0x8f, 0x1f, 0x3f, 0x7f, 0x7f, 0x7f, 0x7f, 0x7f, 0x7f, 0x7f, 0xff, 0xff, 0xc0, 0x80, 0x1e, 0x7f, 		
	0x7f, 0x7f, 0x7f, 0x7f, 0x1e, 0x80, 0xc0, 0xff, 0xff, 0xff, 0x00, 0x00, 0xfe, 0xff, 0xff, 0xff, 		
	0xff, 0xff, 0x00, 0x00, 0xfe, 0xff, 0xff, 0xff, 0xff, 0xff, 0xff, 0x00, 0x00, 0xff, 0xff, 0xff, 		
	0xc1, 0x80, 0x3b, 0x7b, 0x7b, 0x7b, 0x7b, 0x7b, 0x78, 0xf8, 0xff, 0xff, 0xff, 0x00, 0x00, 0xff, 		
	0xff, 0xff, 0xff, 0xff, 0xff, 0x00, 0x00, 0xff, 0xff, 0xff, 0xff, 0x80, 0x00, 0x7f, 0x7f, 0x7f, 		
	0xff, 0xff, 0xc1, 0x80, 0x3b, 0x7b, 0x7b, 0x7b, 0x7b, 0x7b, 0x7b, 0x78, 0xf8, 0xff, 0xff, 0xff, 		
	0xff, 0xff, 0xff, 0xff, 0xff, 0xff, 0xff, 0xff, 0xff, 0xff, 0xff, 0xff, 0xff, 0xff, 0xff, 0xff, 		
	0xff, 0xff, 0xff, 0xff, 0xff, 0xff, 0xff, 0xff, 0xff, 0xff, 0xff, 0xff, 0xff, 0xff, 0xff, 0xff, 		
	0xff, 0xff, 0xff, 0xfe, 0xfe, 0xfe, 0xfe, 0xfe, 0xfe, 0xfe, 0xff, 0xff, 0xff, 0xff, 0xff, 0xfe, 		
	0xfe, 0xfe, 0xfe, 0xfe, 0xff, 0xff, 0xff, 0xff, 0xff, 0xff, 0xfe, 0xfe, 0xff, 0xff, 0xff, 0xff, 		
	0xff, 0xff, 0xfe, 0xfe, 0xff, 0xff, 0xff, 0xff, 0xff, 0xff, 0xff, 0xfe, 0xfe, 0xff, 0xff, 0xff, 		
	0xff, 0xff, 0xff, 0xfe, 0xfe, 0xfe, 0xfe, 0xfe, 0xfe, 0xff, 0xff, 0xff, 0xff, 0xfe, 0xfe, 0xff, 		
	0xff, 0xff, 0xff, 0xff, 0xff, 0xfe, 0xfe, 0xff, 0xff, 0xff, 0xff, 0xff, 0xfe, 0xfe, 0xfe, 0xfe, 		
	0xff, 0xff, 0xff, 0xff, 0xff, 0xfe, 0xfe, 0xfe, 0xfe, 0xfe, 0xfe, 0xfe, 0xff, 0xff, 0xff, 0xff, 		
	0xff, 0xff, 0xff, 0xff, 0xff, 0xff, 0xff, 0xff, 0xff, 0xff, 0xff, 0xff, 0xff, 0xff, 0xff, 0xff, 		
	0xff, 0xff, 0xff, 0xff, 0xff, 0xff, 0xff, 0xff, 0xff, 0xff, 0xff, 0xff, 0xff, 0xff, 0xff, 0xff, 		
	0xff, 0xff, 0xff, 0xff, 0xff, 0xff, 0xff, 0xff, 0xff, 0xff, 0xff, 0x7f, 0x3f, 0x1f, 0x0f, 0x87, 		
	0xc3, 0xe1, 0xf1, 0xfb, 0xff, 0xff, 0xff, 0xff, 0xff, 0xff, 0xff, 0xff, 0xff, 0xf7, 0xf3, 0xf9, 		
	0x01, 0x01, 0xff, 0xff, 0xff, 0xff, 0xff, 0xff, 0xff, 0x3f, 0x0f, 0xc7, 0xe3, 0x73, 0x79, 0x79, 		
	0xf9, 0xf9, 0xff, 0xff, 0xff, 0xff, 0xff, 0xff, 0xff, 0x1f, 0x03, 0xf1, 0xe1, 0x03, 0x1f, 0xff, 		
	0xff, 0xff, 0xff, 0xff, 0xff, 0xff, 0xff, 0xff, 0xff, 0xff, 0xff, 0xff, 0xff, 0xfd, 0xf8, 0xf0, 		
	0xe1, 0xc3, 0x87, 0x0f, 0x1f, 0x3f, 0x7f, 0xff, 0xff, 0xff, 0xff, 0xff, 0xff, 0xff, 0xff, 0xff, 		
	0xff, 0xff, 0xff, 0xff, 0xff, 0xff, 0xff, 0xff, 0xff, 0xff, 0xff, 0xff, 0xff, 0xff, 0xff, 0xff, 		
	0xff, 0xff, 0xff, 0xff, 0xff, 0xff, 0xff, 0xff, 0xff, 0xff, 0xff, 0xff, 0xff, 0xff, 0xff, 0xff, 		
	0xff, 0xff, 0xff, 0xff, 0xff, 0xff, 0xff, 0xff, 0xff, 0xfd, 0xf8, 0xf0, 0xe0, 0xc0, 0x87, 0x0f, 		
	0x1f, 0x3f, 0x7f, 0xff, 0xff, 0xff, 0xff, 0xff, 0xff, 0xff, 0xff, 0xff, 0xff, 0xff, 0xff, 0xff, 		
	0x00, 0x00, 0xff, 0xff, 0xff, 0xff, 0xff, 0xff, 0xc0, 0x00, 0x39, 0x7c, 0xfe, 0xfe, 0xfe, 0xfe, 		
	0x7c, 0x00, 0x83, 0xff, 0xff, 0xff, 0x3f, 0x07, 0xc0, 0xe0, 0xe7, 0xe7, 0xe7, 0xe7, 0xe0, 0xc0, 		
	0x07, 0x3f, 0xff, 0xff, 0xff, 0xff, 0xff, 0xff, 0xff, 0xff, 0xff, 0xff, 0xff, 0x7f, 0x3f, 0x1f, 		
	0x0f, 0x87, 0xc3, 0xe0, 0xf0, 0xf8, 0xfc, 0xfe, 0xff, 0xff, 0xff, 0xff, 0xff, 0xff, 0xff, 0xff, 		
	0xff, 0xff, 0xff, 0xff, 0xff, 0xff, 0xff, 0xff, 0xff, 0xff, 0xff, 0xff, 0xff, 0xff, 0xff, 0xff, 		
	0xff, 0xff, 0xff, 0xff, 0xff, 0xff, 0xff, 0xff, 0xff, 0xff, 0xff, 0xff, 0xff, 0xff, 0xff, 0xff, 		
	0xff, 0xff, 0xff, 0xff, 0xff, 0xff, 0xff, 0xff, 0xff, 0xff, 0xff, 0xff, 0xff, 0xff, 0xff, 0xff, 		
	0xfe, 0xfc, 0xfc, 0xfe, 0xff, 0xff, 0xff, 0xff, 0xff, 0xff, 0xff, 0xff, 0xff, 0xff, 0xff, 0xff, 		
	0xfc, 0xfc, 0xff, 0xff, 0xff, 0xff, 0xff, 0xff, 0xff, 0xff, 0xfe, 0xfe, 0xfc, 0xfc, 0xfc, 0xfc, 		
	0xfe, 0xfe, 0xff, 0xff, 0xff, 0xfd, 0xfc, 0xfe, 0xff, 0xff, 0xff, 0xff, 0xff, 0xff, 0xff, 0xff, 		
	0xfe, 0xfc, 0xfd, 0xff, 0xff, 0xff, 0xff, 0xff, 0xff, 0xff, 0xff, 0xff, 0xff, 0xff, 0xfe, 0xfe, 		
	0xff, 0xff, 0xff, 0xff, 0xff, 0xff, 0xff, 0xff, 0xff, 0xff, 0xff, 0xff, 0xff, 0xff, 0xff, 0xff, 		
	0xff, 0xff, 0xff, 0xff, 0xff, 0xff, 0xff, 0xff, 0xff, 0xff, 0xff, 0xff, 0xff, 0xff, 0xff, 0xff, 		
	0xff, 0xff, 0xff, 0xff, 0xff, 0xff, 0xff, 0xff, 0xff, 0xff, 0xff, 0xff, 0xff, 0xff, 0xff, 0xff, 		
	0xff, 0xff, 0xff, 0xff, 0xff, 0xff, 0xff, 0xff, 0xff, 0xff, 0xff, 0xff, 0xff, 0xff, 0xff, 0xff, 		
	0xff, 0xff, 0xff, 0xff, 0xff, 0xff, 0xff, 0xff, 0xff, 0xff, 0xff, 0xff, 0xff, 0xff, 0xff, 0xff, 		
	0xff, 0xff, 0xff, 0xff, 0xff, 0xff, 0xff, 0xff, 0xff, 0xff, 0xff, 0xff, 0xff, 0xff, 0xff, 0xff, 		
	0xff, 0xff, 0xff, 0xff, 0xff, 0xff, 0xff, 0xff, 0xff, 0xff, 0xff, 0xff, 0xff, 0xff, 0xff, 0xff, 		
	0xff, 0xff, 0xff, 0xff, 0xff, 0xff, 0xff, 0xff, 0xff, 0xff, 0xff, 0xff, 0xff, 0xff, 0xff, 0xff, 		
	0xff, 0xff, 0xff, 0xff, 0xff, 0xff, 0xff, 0xff, 0xff, 0xff, 0xff, 0xff, 0xff, 0xff, 0xff, 0xff, 		
	0xff, 0xff, 0xff, 0xff, 0xff, 0xff, 0xff, 0xff, 0xff, 0xff, 0xff, 0xff, 0xff, 0xff, 0xff, 0xff		
};
```

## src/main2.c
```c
#include <zephyr/kernel.h>
#include <zephyr/drivers/gpio.h>
#include <zephyr/device.h>
#include <zephyr/devicetree.h>


void main(void)
{
    const struct device *dev_led;
    int ret;

    dev_led = device_get_binding((char*) DT_ALIAS_LED_GPIO_PIN);
    if (dev_led == NULL) {
        return;
    }

    ret = gpio_pin_configure(dev_led, DT_ALIAS_LED_GPIO_PIN, GPIO_OUTPUT_ACTIVE | DT_ALIAS_LED_GPIO_PIN);
    if (ret < 0) {
        return;
    }

    while (1) {
        gpio_pin_toggle(dev_led, DT_ALIAS_LED_GPIO_PIN);
        k_msleep(500);
    }
}
```
